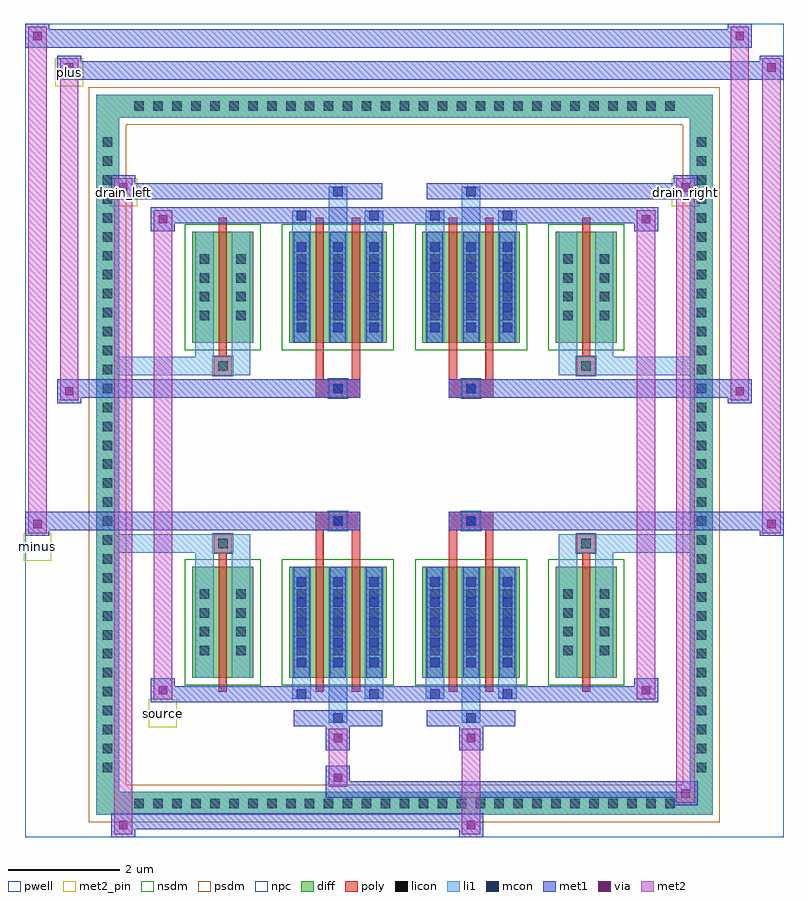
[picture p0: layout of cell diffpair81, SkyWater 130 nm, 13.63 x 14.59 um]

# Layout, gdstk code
import gdstk
lib = gdstk.Library(unit=1e-6, precision=5e-09)
def R(c, l, rs):  # rectangles x0, y0, x1, y1
    for r in rs: c.add(gdstk.rectangle(r[:2], r[2:], *l))
def A(c, l, x, y, w, h, nx, ny, dx, dy):  # array of equal rectangles
    R(c, l, [(x+i*dx, y+j*dy, x+i*dx+w, y+j*dy+h) for i in range(nx) for j in range(ny)])
def P(c, l, *ps):  # polygons
    for p in ps: c.add(gdstk.Polygon(p, *l))
pwell = (64, 44)
diff = (65, 20)
poly = (66, 20)
licon = (66, 44)
li1 = (67, 20)
mcon = (67, 44)
met1 = (68, 20)
via = (68, 44)
met2_pin = (69, 16)
met2 = (69, 20)
nsdm = (93, 44)
psdm = (94, 20)
npc = (95, 20)

diffpair81 = lib.new_cell('diffpair81')
R(diffpair81, pwell, [(-6.8,-6.86,6.8,7.73), (-4.12,-5.05,-0.01,-0.825), (0.01,-5.05,4.12,-0.825), (-4.12,0.825,-0.01,5.05), (0.01,0.825,4.12,5.05)])
A(diffpair81, diff, -4.965, -6.46, 0.41, 0.41, 29, 2, 0.34, 12.51)
A(diffpair81, diff, -5.53, -5.815, 0.41, 0.41, 1, 34, 0, 0.34)
A(diffpair81, diff, 5.12, -5.815, 0.41, 0.41, 1, 34, 0, 0.34)
R(diffpair81, diff, [(-4.965,-6.46,4.965,-6.05), (-5.53,-5.815,-5.12,5.815), (5.12,-5.815,5.53,5.815), (-3.81,-4.005,-2.71,-2.005), (-2.07,-4.005,-0.32,-2.005), (0.32,-4.005,2.07,-2.005), (2.71,-4.005,3.81,-2.005), (-3.81,2.005,-2.71,4.005), (-2.07,2.005,-0.32,4.005), (0.32,2.005,2.07,4.005), (2.71,2.005,3.81,4.005), (-4.965,6.05,4.965,6.46)])
P(diffpair81, diff, [(5.53,6.46),(-5.53,6.46),(-5.53,-6.05),(-5.12,-6.05),(-5.12,6.05),(5.12,6.05),(5.12,-6.05),(-5.12,-6.05),(-5.53,-6.05),(-5.53,-6.46),(5.53,-6.46)])
R(diffpair81, poly, [(-3.335,-4.255,-3.185,-1.755), (-1.595,-4.255,-1.445,-1.755), (-0.945,-4.255,-0.795,-1.755), (0.795,-4.255,0.945,-1.755), (1.445,-4.255,1.595,-1.755), (3.185,-4.255,3.335,-1.755), (-3.425,-1.755,-3.095,-1.425), (-3.425,-1.755,-3.095,-1.425), (-1.595,-1.755,-1.445,-1.355), (-0.945,-1.755,-0.795,-1.355), (0.795,-1.755,0.945,-1.355), (1.445,-1.755,1.595,-1.355), (3.095,-1.755,3.425,-1.425), (3.095,-1.755,3.425,-1.425), (-1.595,-1.355,-0.795,-1.025), (-1.36,-1.355,-1.03,-1.025), (0.795,-1.355,1.595,-1.025), (1.03,-1.355,1.36,-1.025), (-1.595,1.025,-0.795,1.355), (-1.36,1.025,-1.03,1.355), (0.795,1.025,1.595,1.355), (1.03,1.025,1.36,1.355), (-1.595,1.355,-1.445,1.755), (-0.945,1.355,-0.795,1.755), (0.795,1.355,0.945,1.755), (1.445,1.355,1.595,1.755), (-3.425,1.425,-3.095,1.755), (-3.425,1.425,-3.095,1.755), (3.095,1.425,3.425,1.755), (3.095,1.425,3.425,1.755), (-3.335,1.755,-3.185,4.255), (-1.595,1.755,-1.445,4.255), (-0.945,1.755,-0.795,4.255), (0.795,1.755,0.945,4.255), (1.445,1.755,1.595,4.255), (3.185,1.755,3.335,4.255)])
A(diffpair81, licon, -4.845, -6.34, 0.17, 0.17, 29, 2, 0.34, 12.51)
A(diffpair81, licon, -5.41, -5.695, 0.17, 0.17, 1, 34, 0, 0.34)
A(diffpair81, licon, 5.24, -5.695, 0.17, 0.17, 1, 34, 0, 0.34)
A(diffpair81, licon, -3.67, -3.6, 0.17, 0.17, 1, 4, 0, 0.34)
A(diffpair81, licon, -3.02, -3.6, 0.17, 0.17, 1, 4, 0, 0.34)
A(diffpair81, licon, -1.93, -3.6, 0.17, 0.17, 3, 4, 0.65, 0.34)
A(diffpair81, licon, 0.46, -3.6, 0.17, 0.17, 3, 4, 0.65, 0.34)
A(diffpair81, licon, 2.85, -3.6, 0.17, 0.17, 1, 4, 0, 0.34)
A(diffpair81, licon, 3.5, -3.6, 0.17, 0.17, 1, 4, 0, 0.34)
A(diffpair81, licon, -3.67, 2.41, 0.17, 0.17, 1, 4, 0, 0.34)
A(diffpair81, licon, -3.02, 2.41, 0.17, 0.17, 1, 4, 0, 0.34)
A(diffpair81, licon, -1.93, 2.41, 0.17, 0.17, 3, 4, 0.65, 0.34)
A(diffpair81, licon, 0.46, 2.41, 0.17, 0.17, 3, 4, 0.65, 0.34)
A(diffpair81, licon, 2.85, 2.41, 0.17, 0.17, 1, 4, 0, 0.34)
A(diffpair81, licon, 3.5, 2.41, 0.17, 0.17, 1, 4, 0, 0.34)
R(diffpair81, licon, [(-3.345,-1.675,-3.175,-1.505), (3.175,-1.675,3.345,-1.505), (-1.28,-1.275,-1.11,-1.105), (1.11,-1.275,1.28,-1.105), (-1.28,1.105,-1.11,1.275), (1.11,1.105,1.28,1.275), (-3.345,1.505,-3.175,1.675), (3.175,1.505,3.345,1.675)])
A(diffpair81, li1, -4.925, -6.42, 0.33, 0.33, 29, 2, 0.34, 12.51)
A(diffpair81, li1, -5.49, -5.775, 0.33, 0.33, 1, 34, 0, 0.34)
A(diffpair81, li1, 5.16, -5.775, 0.33, 0.33, 1, 34, 0, 0.34)
A(diffpair81, li1, -2.01, -4.005, 0.33, 2, 3, 2, 0.65, 6.01)
A(diffpair81, li1, 0.38, -4.005, 0.33, 2, 3, 2, 0.65, 6.01)
A(diffpair81, li1, -1.93, -3.81, 0.17, 0.17, 3, 5, 0.65, 0.36)
A(diffpair81, li1, -1.93, -3.81, 0.17, 1.61, 3, 2, 0.65, 6.01)
A(diffpair81, li1, 0.46, -3.81, 0.17, 0.17, 3, 5, 0.65, 0.36)
A(diffpair81, li1, 0.46, -3.81, 0.17, 1.61, 3, 2, 0.65, 6.01)
A(diffpair81, li1, -3.75, -3.68, 0.33, 0.33, 1, 4, 0, 0.34)
A(diffpair81, li1, -3.1, -3.68, 0.33, 0.33, 1, 4, 0, 0.34)
A(diffpair81, li1, -2.01, -3.68, 0.33, 0.33, 3, 4, 0.65, 0.34)
A(diffpair81, li1, 0.38, -3.68, 0.33, 0.33, 3, 4, 0.65, 0.34)
A(diffpair81, li1, 2.77, -3.68, 0.33, 0.33, 1, 4, 0, 0.34)
A(diffpair81, li1, 3.42, -3.68, 0.33, 0.33, 1, 4, 0, 0.34)
A(diffpair81, li1, -1.93, 2.2, 0.17, 0.17, 3, 5, 0.65, 0.36)
A(diffpair81, li1, 0.46, 2.2, 0.17, 0.17, 3, 5, 0.65, 0.36)
A(diffpair81, li1, -3.75, 2.33, 0.33, 0.33, 1, 4, 0, 0.34)
A(diffpair81, li1, -3.1, 2.33, 0.33, 0.33, 1, 4, 0, 0.34)
A(diffpair81, li1, -2.01, 2.33, 0.33, 0.33, 3, 4, 0.65, 0.34)
A(diffpair81, li1, 0.38, 2.33, 0.33, 0.33, 3, 4, 0.65, 0.34)
A(diffpair81, li1, 2.77, 2.33, 0.33, 0.33, 1, 4, 0, 0.34)
A(diffpair81, li1, 3.42, 2.33, 0.33, 0.33, 1, 4, 0, 0.34)
R(diffpair81, li1, [(-5.53,-6.46,-5.12,-6.05), (-5.53,-6.46,-5.12,-6.05), (-5.12,-6.46,5.12,-6.05), (5.12,-6.46,5.53,-6.05), (5.12,-6.46,5.53,-6.05), (-5.53,-6.05,-5.12,6.05), (5.12,-6.05,5.53,6.05), (-1.36,-4.81,-1.03,-4.005), (-1.28,-4.81,-1.11,-4.64), (1.03,-4.81,1.36,-4.005), (1.11,-4.81,1.28,-4.64), (-2.01,-4.38,-1.68,-4.005), (-1.93,-4.38,-1.76,-4.21), (-0.71,-4.38,-0.38,-4.005), (-0.63,-4.38,-0.46,-4.21), (0.38,-4.38,0.71,-4.005), (0.46,-4.38,0.63,-4.21), (1.68,-4.38,2.01,-4.005), (1.76,-4.38,1.93,-4.21), (-3.75,-4.005,-3.42,-2.005), (-3.1,-4.005,-2.77,-2.005), (2.77,-4.005,3.1,-2.005), (3.42,-4.005,3.75,-2.005), (-3.75,-2.005,-3.42,-1.425), (-3.1,-2.005,-2.77,-1.425), (2.77,-2.005,3.1,-1.425), (3.42,-2.005,3.75,-1.425), (-5.53,-1.755,-3.425,-1.425), (-3.75,-1.755,-3.425,-1.425), (-3.425,-1.755,-3.095,-1.425), (-3.095,-1.755,-2.77,-1.425), (2.77,-1.755,3.095,-1.425), (3.095,-1.755,3.425,-1.425), (3.095,-1.755,5.53,-1.425), (3.425,-1.755,3.75,-1.425), (-1.36,-1.355,-1.03,-1.025), (1.03,-1.355,1.36,-1.025), (-1.36,1.025,-1.03,1.355), (1.03,1.025,1.36,1.355), (-5.53,1.425,-3.425,1.755), (-3.75,1.425,-3.425,1.755), (-3.75,1.425,-3.42,2.005), (-3.425,1.425,-3.095,1.755), (-3.1,1.425,-2.77,2.005), (-3.095,1.425,-2.77,1.755), (2.77,1.425,3.095,1.755), (2.77,1.425,3.1,2.005), (3.095,1.425,3.425,1.755), (3.095,1.425,5.53,1.755), (3.42,1.425,3.75,2.005), (3.425,1.425,3.75,1.755), (-3.75,2.005,-3.42,4.005), (-3.1,2.005,-2.77,4.005), (2.77,2.005,3.1,4.005), (3.42,2.005,3.75,4.005), (-2.01,4.005,-1.68,4.38), (-1.36,4.005,-1.03,4.81), (-0.71,4.005,-0.38,4.38), (0.38,4.005,0.71,4.38), (1.03,4.005,1.36,4.81), (1.68,4.005,2.01,4.38), (-1.93,4.21,-1.76,4.38), (-0.63,4.21,-0.46,4.38), (0.46,4.21,0.63,4.38), (1.76,4.21,1.93,4.38), (-1.28,4.64,-1.11,4.81), (1.11,4.64,1.28,4.81), (-5.53,6.05,-5.12,6.46), (-5.53,6.05,-5.12,6.46), (-5.12,6.05,5.12,6.46), (5.12,6.05,5.53,6.46), (5.12,6.05,5.53,6.46)])
A(diffpair81, mcon, -1.93, -3.81, 0.17, 0.17, 3, 5, 0.65, 0.36)
A(diffpair81, mcon, 0.46, -3.81, 0.17, 0.17, 3, 5, 0.65, 0.36)
A(diffpair81, mcon, -1.93, 2.2, 0.17, 0.17, 3, 5, 0.65, 0.36)
A(diffpair81, mcon, 0.46, 2.2, 0.17, 0.17, 3, 5, 0.65, 0.36)
R(diffpair81, mcon, [(-1.28,-4.81,-1.11,-4.64), (1.11,-4.81,1.28,-4.64), (-1.93,-4.38,-1.76,-4.21), (-0.63,-4.38,-0.46,-4.21), (0.46,-4.38,0.63,-4.21), (1.76,-4.38,1.93,-4.21), (-1.28,-1.275,-1.11,-1.105), (1.11,-1.275,1.28,-1.105), (-1.28,1.105,-1.11,1.275), (1.11,1.105,1.28,1.275), (-1.93,4.21,-1.76,4.38), (-0.63,4.21,-0.46,4.38), (0.46,4.21,0.63,4.38), (1.76,4.21,1.93,4.38), (-1.28,4.64,-1.11,4.81), (1.11,4.64,1.28,4.81)])
A(diffpair81, met1, -1.99, -4.005, 0.29, 2, 3, 2, 0.65, 6.01)
A(diffpair81, met1, 0.4, -4.005, 0.29, 2, 3, 2, 0.65, 6.01)
A(diffpair81, met1, -1.99, -3.87, 0.29, 0.29, 3, 5, 0.65, 0.36)
A(diffpair81, met1, 0.4, -3.87, 0.29, 0.29, 3, 5, 0.65, 0.36)
A(diffpair81, met1, -1.99, 2.14, 0.29, 0.29, 3, 5, 0.65, 0.36)
A(diffpair81, met1, 0.4, 2.14, 0.29, 0.29, 3, 5, 0.65, 0.36)
R(diffpair81, met1, [(-5.26,-6.86,-4.83,-6.43), (0.98,-6.86,1.41,-6.43), (-5.26,-6.72,1.41,-6.43), (4.83,-6.29,5.26,-5.86), (-1.41,-6.15,5.26,-5.86), (-1.41,-6.01,-0.98,-5.58), (-1.41,-5.3,-0.98,-4.87), (0.98,-5.3,1.41,-4.87), (-1.99,-4.87,-0.4,-4.58), (-1.34,-4.87,-1.05,-4.58), (0.4,-4.87,1.99,-4.58), (1.05,-4.87,1.34,-4.58), (-4.55,-4.44,-4.12,-4.01), (-4.55,-4.44,-1.99,-4.15), (-1.99,-4.44,-1.7,-4.15), (-1.99,-4.44,-0.4,-4.15), (-0.69,-4.44,-0.4,-4.15), (-0.4,-4.44,0.4,-4.15), (0.4,-4.44,0.69,-4.15), (0.4,-4.44,1.99,-4.15), (1.7,-4.44,1.99,-4.15), (1.99,-4.44,4.55,-4.15), (4.12,-4.44,4.55,-4.01), (-6.8,-1.455,-6.37,-1.025), (6.37,-1.455,6.8,-1.025), (-6.8,-1.355,-0.795,-1.025), (-1.595,-1.355,-0.795,-1.025), (0.795,-1.355,1.595,-1.025), (0.795,-1.355,6.8,-1.025), (-1.34,-1.335,-1.05,-1.045), (1.05,-1.335,1.34,-1.045), (-6.23,0.925,-5.8,1.355), (5.8,0.925,6.23,1.355), (-6.23,1.025,-1.595,1.355), (-1.595,1.025,-0.795,1.355), (0.795,1.025,1.595,1.355), (1.595,1.025,6.23,1.355), (-1.34,1.045,-1.05,1.335), (1.05,1.045,1.34,1.335), (-4.55,4.01,-4.12,4.44), (4.12,4.01,4.55,4.44), (-4.55,4.15,-1.99,4.44), (-1.99,4.15,-1.7,4.44), (-1.99,4.15,-0.4,4.44), (-0.69,4.15,-0.4,4.44), (-0.4,4.15,0.4,4.44), (0.4,4.15,0.69,4.44), (0.4,4.15,1.99,4.44), (1.7,4.15,1.99,4.44), (1.99,4.15,4.55,4.44), (-5.26,4.58,-4.83,5.01), (-5.26,4.58,-1.99,4.87), (-1.99,4.58,-0.4,4.87), (-1.34,4.58,-1.05,4.87), (0.4,4.58,1.99,4.87), (1.05,4.58,1.34,4.87), (1.99,4.58,5.26,4.87), (4.83,4.58,5.26,5.01), (-6.23,6.73,-5.8,7.16), (-6.23,6.73,-4.12,7.06), (-4.12,6.73,4.12,7.06), (4.12,6.73,6.8,7.06), (6.37,6.73,6.8,7.16), (-6.8,7.3,-6.37,7.73), (-6.8,7.3,-4.12,7.63), (-4.12,7.3,4.12,7.63), (4.12,7.3,6.23,7.63), (5.8,7.3,6.23,7.73)])
R(diffpair81, via, [(-5.12,-6.72,-4.97,-6.57), (1.12,-6.72,1.27,-6.57), (4.97,-6.15,5.12,-6), (-1.27,-5.87,-1.12,-5.72), (-1.27,-5.16,-1.12,-5.01), (1.12,-5.16,1.27,-5.01), (-4.41,-4.3,-4.26,-4.15), (4.26,-4.3,4.41,-4.15), (-6.66,-1.315,-6.51,-1.165), (6.51,-1.315,6.66,-1.165), (-6.09,1.065,-5.94,1.215), (5.94,1.065,6.09,1.215), (-4.41,4.15,-4.26,4.3), (4.26,4.15,4.41,4.3), (-5.12,4.72,-4.97,4.87), (4.97,4.72,5.12,4.87), (-6.09,6.87,-5.94,7.02), (6.51,6.87,6.66,7.02), (-6.66,7.44,-6.51,7.59), (5.94,7.44,6.09,7.59)])
R(diffpair81, met2_pin, [(-4.585,-4.89,-4.085,-4.39), (-6.835,-1.905,-6.335,-1.405), (-5.295,4.46,-4.795,4.96), (4.795,4.46,5.295,4.96), (-6.265,6.61,-5.765,7.11)])
R(diffpair81, met2, [(-5.21,-6.81,-4.88,-6.48), (-5.21,-6.81,-4.88,4.96), (1.03,-6.81,1.36,-6.48), (1.03,-6.48,1.36,-5.25), (4.88,-6.24,5.21,-5.91), (4.88,-6.24,5.21,4.96), (-1.36,-5.96,-1.03,-5.63), (-1.36,-5.63,-1.03,-5.25), (-1.36,-5.25,-1.03,-4.92), (1.03,-5.25,1.36,-4.92), (-4.5,-4.39,-4.17,-4.06), (-4.5,-4.39,-4.17,4.39), (4.17,-4.39,4.5,-4.06), (4.17,-4.39,4.5,4.39), (-6.75,-1.405,-6.42,-1.075), (-6.75,-1.405,-6.42,7.68), (6.42,-1.405,6.75,-1.075), (6.42,-1.405,6.75,7.11), (-6.18,0.975,-5.85,1.305), (-6.18,0.975,-5.85,7.11), (5.85,0.975,6.18,1.305), (5.85,0.975,6.18,7.68), (-4.5,4.06,-4.17,4.39), (4.17,4.06,4.5,4.39), (-5.21,4.63,-4.88,4.96), (4.88,4.63,5.21,4.96), (-6.18,6.78,-5.85,7.11), (6.42,6.78,6.75,7.11), (-6.75,7.35,-6.42,7.68), (5.85,7.35,6.18,7.68)])
P(diffpair81, met2, [(6.75,-1.405),(6.75,-1.405),(6.75,-1.075),(6.75,-1.075)],
  [(6.75,6.78),(6.75,6.78),(6.75,7.11),(6.75,7.11)],
  [(-6.42,-1.405),(-6.42,-1.405),(-6.42,-1.075),(-6.42,-1.075)],
  [(-6.42,7.35),(-6.42,7.35),(-6.42,7.68),(-6.42,7.68)],
  [(6.18,0.975),(6.18,0.975),(6.18,1.305),(6.18,1.305)],
  [(6.18,7.35),(6.18,7.35),(6.18,7.68),(6.18,7.68)],
  [(-5.85,0.975),(-5.85,0.975),(-5.85,1.305),(-5.85,1.305)],
  [(-5.85,6.78),(-5.85,6.78),(-5.85,7.11),(-5.85,7.11)],
  [(-4.88,-6.81),(-4.88,-6.81),(-4.88,-6.48),(-4.88,-6.48)],
  [(-4.88,4.63),(-4.88,4.63),(-4.88,4.96),(-4.88,4.96)],
  [(5.21,-6.24),(5.21,-6.24),(5.21,-5.91),(5.21,-5.91)],
  [(5.21,4.63),(5.21,4.63),(5.21,4.96),(5.21,4.96)],
  [(-4.17,-4.39),(-4.17,-4.39),(-4.17,-4.06),(-4.17,-4.06)],
  [(-4.17,4.06),(-4.17,4.06),(-4.17,4.39),(-4.17,4.39)],
  [(4.5,-4.39),(4.5,-4.39),(4.5,-4.06),(4.5,-4.06)],
  [(4.5,4.06),(4.5,4.06),(4.5,4.39),(4.5,4.39)])
R(diffpair81, nsdm, [(-3.94,-4.135,-2.58,-1.875), (-2.2,-4.135,-0.19,-1.875), (0.19,-4.135,2.2,-1.875), (2.58,-4.135,3.94,-1.875), (-3.94,1.875,-2.58,4.135), (-2.2,1.875,-0.19,4.135), (0.19,1.875,2.2,4.135), (2.58,1.875,3.94,4.135)])
P(diffpair81, psdm, [(5.66,6.59),(-5.66,6.59),(-5.66,-5.92),(-4.99,-5.92),(-4.99,5.92),(4.99,5.92),(4.99,-5.92),(-4.99,-5.92),(-5.66,-5.92),(-5.66,-6.59),(5.66,-6.59)])
R(diffpair81, npc, [(-3.445,-1.775,-3.075,-1.405), (3.075,-1.775,3.445,-1.405), (-1.38,-1.375,-1.01,-1.005), (1.01,-1.375,1.38,-1.005), (-1.38,1.005,-1.01,1.375), (1.01,1.005,1.38,1.375), (-3.445,1.405,-3.075,1.775), (3.075,1.405,3.445,1.775)])
diffpair81.add(gdstk.Label('minus', (-6.585,-1.655), layer=69, texttype=5))
diffpair81.add(gdstk.Label('drain_right', (5.045,4.71), layer=69, texttype=5))
diffpair81.add(gdstk.Label('drain_left', (-5.045,4.71), layer=69, texttype=5))
diffpair81.add(gdstk.Label('source', (-4.335,-4.64), layer=69, texttype=5))
diffpair81.add(gdstk.Label('plus', (-6.015,6.86), layer=69, texttype=5))

lib.write_gds('diffpair81.gds')
